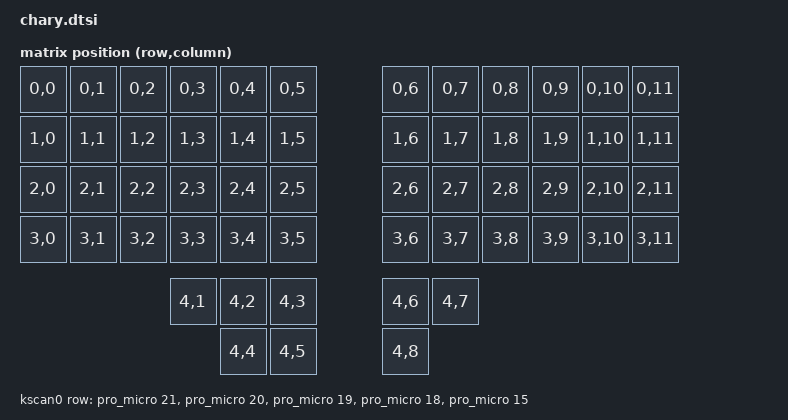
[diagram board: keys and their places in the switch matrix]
/*
 * Copyright (c) 2022 Duccio Breschi
 *
 * SPDX-License-Identifier: MIT
 */

#include <dt-bindings/zmk/matrix_transform.h>
#include <physical_layouts.dtsi>

/ {
	chosen {

		zmk,kscan = &kscan0;
		zmk,physical-layout = &charybdis;
	};

	default_transform: keymap_transform_0 {
		compatible = "zmk,matrix-transform";
		columns = <12>;
		rows = <5>;

		map = <
                RC(0,0) RC(0,1) RC(0,2) RC(0,3) RC(0,4) RC(0,5)                      RC(0,6)  RC(0,7) RC(0,8) RC(0,9) RC(0,10) RC(0,11)
                RC(1,0) RC(1,1) RC(1,2) RC(1,3) RC(1,4) RC(1,5)                      RC(1,6)  RC(1,7) RC(1,8) RC(1,9) RC(1,10) RC(1,11)
                RC(2,0) RC(2,1) RC(2,2) RC(2,3) RC(2,4) RC(2,5)                      RC(2,6)  RC(2,7) RC(2,8) RC(2,9) RC(2,10) RC(2,11)
                RC(3,0) RC(3,1) RC(3,2) RC(3,3) RC(3,4) RC(3,5)                      RC(3,6)  RC(3,7) RC(3,8) RC(3,9) RC(3,10) RC(3,11)
				 RC(4,1) RC(4,2) RC(4,3) RC(4,4) RC(4,5)                      RC(4,6)  RC(4,7) RC(4,8)
		>;
	};

	kscan0: kscan {
		compatible = "zmk,kscan-gpio-matrix";
		label = "KSCAN";

		diode-direction = "col2row";
		       row-gpios= <&pro_micro 21 (GPIO_ACTIVE_HIGH | GPIO_PULL_DOWN)>
		                 , <&pro_micro 20 (GPIO_ACTIVE_HIGH | GPIO_PULL_DOWN)> 
				         , <&pro_micro 19 (GPIO_ACTIVE_HIGH | GPIO_PULL_DOWN)> 
				         , <&pro_micro 18 (GPIO_ACTIVE_HIGH | GPIO_PULL_DOWN)>  
				         , <&pro_micro 15 (GPIO_ACTIVE_HIGH | GPIO_PULL_DOWN)> 
				;
	};


	charybdis: charybdis {
		compatible = "zmk,physical-layout";
		display-name = "matrix layout";
	 kscan = <&kscan0>;
		transform = <&default_transform>;
keys  //                  w   h    x    y     rot    rx    ry
            = <&key_physical_attrs 100 100    0    0       0     0     0>
            , <&key_physical_attrs 100 100  100    0       0     0     0>
            , <&key_physical_attrs 100 100  200    0       0     0     0>
            , <&key_physical_attrs 100 100  300    0       0     0     0>
            , <&key_physical_attrs 100 100  400    0       0     0     0>
            , <&key_physical_attrs 100 100  500    0       0     0     0>
            , <&key_physical_attrs 100 100  725    0       0     0     0>
            , <&key_physical_attrs 100 100  825    0       0     0     0>
            , <&key_physical_attrs 100 100  925    0       0     0     0>
            , <&key_physical_attrs 100 100 1025    0       0     0     0>
            , <&key_physical_attrs 100 100 1125    0       0     0     0>
            , <&key_physical_attrs 100 100 1225    0       0     0     0>

            , <&key_physical_attrs 100 100    0  100       0     0     0>
            , <&key_physical_attrs 100 100  100  100       0     0     0>
            , <&key_physical_attrs 100 100  200  100       0     0     0>
            , <&key_physical_attrs 100 100  300  100       0     0     0>
            , <&key_physical_attrs 100 100  400  100       0     0     0>
            , <&key_physical_attrs 100 100  500  100       0     0     0>
            , <&key_physical_attrs 100 100  725  100       0     0     0>
            , <&key_physical_attrs 100 100  825  100       0     0     0>
            , <&key_physical_attrs 100 100  925  100       0     0     0>
            , <&key_physical_attrs 100 100 1025  100       0     0     0>
            , <&key_physical_attrs 100 100 1125  100       0     0     0>
            , <&key_physical_attrs 100 100 1225  100       0     0     0>

            , <&key_physical_attrs 100 100    0  200       0     0     0>
            , <&key_physical_attrs 100 100  100  200       0     0     0>
            , <&key_physical_attrs 100 100  200  200       0     0     0>
            , <&key_physical_attrs 100 100  300  200       0     0     0>
            , <&key_physical_attrs 100 100  400  200       0     0     0>
            , <&key_physical_attrs 100 100  500  200       0     0     0>
            , <&key_physical_attrs 100 100  725  200       0     0     0>
            , <&key_physical_attrs 100 100  825  200       0     0     0>
            , <&key_physical_attrs 100 100  925  200       0     0     0>
            , <&key_physical_attrs 100 100 1025  200       0     0     0>
            , <&key_physical_attrs 100 100 1125  200       0     0     0>
            , <&key_physical_attrs 100 100 1225  200       0     0     0>

            , <&key_physical_attrs 100 100    0  300       0     0     0>
            , <&key_physical_attrs 100 100  100  300       0     0     0>
            , <&key_physical_attrs 100 100  200  300       0     0     0>
            , <&key_physical_attrs 100 100  300  300       0     0     0>
            , <&key_physical_attrs 100 100  400  300       0     0     0>
            , <&key_physical_attrs 100 100  500  300       0     0     0>
            , <&key_physical_attrs 100 100  725  300       0     0     0>
            , <&key_physical_attrs 100 100  825  300       0     0     0>
            , <&key_physical_attrs 100 100  925  300       0     0     0>
            , <&key_physical_attrs 100 100 1025  300       0     0     0>
            , <&key_physical_attrs 100 100 1125  300       0     0     0>
            , <&key_physical_attrs 100 100 1225  300       0     0     0>

            , <&key_physical_attrs 100 100  300  425       0     0     0>
            , <&key_physical_attrs 100 100  400  425       0     0     0>
            , <&key_physical_attrs 100 100  500  425       0     0     0>
            , <&key_physical_attrs 100 100  400  525       0     0     0>
            , <&key_physical_attrs 100 100  500  525       0     0     0>
            , <&key_physical_attrs 100 100  725  425       0     0     0>
            , <&key_physical_attrs 100 100  825  425       0     0     0>
            , <&key_physical_attrs 100 100  725  525       0     0     0>
            ;
    };


};
